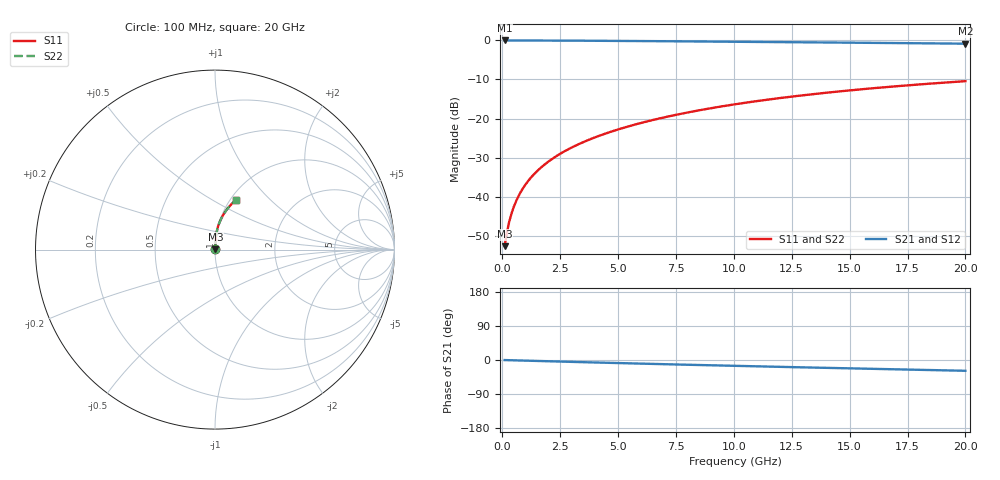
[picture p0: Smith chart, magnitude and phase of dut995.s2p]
! Touchstone file exported from HFSS 2024.1.0
!  File:  C:/UserFiles/LocalFiles/RDL_TSV_Batchsim/temp_RDL_bottom_995_1779944085.aedt
!  Generated:  12:57:13 PM May 28, 2026
!  Design:  RDL_bottom
!  Project:  temp_RDL_bottom_995_1779944085
!  Setup:  Setup1
!  Solution:  Sweep
! Variables:
!  dtsv = 10.80580581um
!  hbump = 3um
!  htsv = 60.01um
!  ldown = 368.39um
!  lrdl = 100um
!  p = 40
!  p1 = 53.18um
!  rhole = 1um
!  t = 450um
!  tdown = 3.92um
!  trdl = 3.915915916um
!  wdown = 21.05um
!  wrdl = 20um
# GHz S MA R 50.000000
! Terminal data exported
! Port[1] = RDL1_T1
! Port[2] = RDL1_T2
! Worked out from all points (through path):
!   200 points, 100 MHz to 20 GHz, reference 50 ohm
!   highest |S21| = -0.02 dB at 100 MHz (marker M1); lowest = -0.8 dB at 20 GHz (marker M2)
!   group delay of S21, straight-line fit = 3.91 ps
!   lowest |S11| = -52.7 dB at 100 MHz (marker M3), VSWR 1.00, Z = 50.2 + j0.151 ohm
!   |S11| at or under -10 dB: start of sweep to end of sweep
!   |S22| runs from -52.7 to -10.4 dB; largest |S21 - S12| = 2e-15
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0.1  0.002321 40.5  0.9982 -0.2  0.9982 -0.2  0.002321 40.5
! Gamma 0 0 0 0
! Port Impedance 50 0 50 0
0.2  0.003496 58.2  0.9981 -0.3  0.9981 -0.3  0.003496 58.2
0.3  0.004791 66.3  0.998 -0.5  0.998 -0.5  0.004791 66.3
0.4  0.006112 71.0  0.9979 -0.7  0.9979 -0.7  0.006112 71.0
0.5  0.007445 74.1  0.9978 -0.9  0.9978 -0.9  0.007445 74.1
0.6  0.008787 76.3  0.9977 -1.0  0.9977 -1.0  0.008787 76.3
0.8  0.0115 79.3  0.9975 -1.3  0.9975 -1.3  0.0115 79.3
1.1  0.01562 81.9  0.9971 -1.8  0.9971 -1.8  0.01562 81.9
1.5  0.02118 83.8  0.9965 -2.5  0.9965 -2.5  0.02118 83.8
1.8  0.02539 84.7  0.9959 -3.0  0.9959 -3.0  0.02539 84.7
2.1  0.02963 85.3  0.9953 -3.5  0.9953 -3.5  0.02963 85.3
2.7  0.03822 86.0  0.9937 -4.5  0.9937 -4.5  0.03822 86.0
3.5  0.04989 86.3  0.9911 -5.8  0.9911 -5.8  0.04989 86.3
4.2  0.0603 86.2  0.9885 -6.9  0.9885 -6.9  0.0603 86.2
5  0.07242 85.9  0.9852 -8.1  0.9852 -8.1  0.07242 85.9
5.9  0.08631 85.3  0.9812 -9.5  0.9812 -9.5  0.0863 85.3
6.8  0.1004 84.5  0.977 -10.8  0.977 -10.8  0.1004 84.5
8.4  0.1258 82.8  0.9692 -13.1  0.9692 -13.1  0.1258 82.8
10.1  0.1529 80.7  0.9607 -15.5  0.9607 -15.5  0.1528 80.7
13.4  0.2047 76.1  0.9437 -20.0  0.9437 -20.0  0.2046 76.1
16.7  0.2542 71.5  0.9262 -24.3  0.9262 -24.3  0.2541 71.5
20  0.3006 67.0  0.908 -28.4  0.908 -28.4  0.3006 67.0
